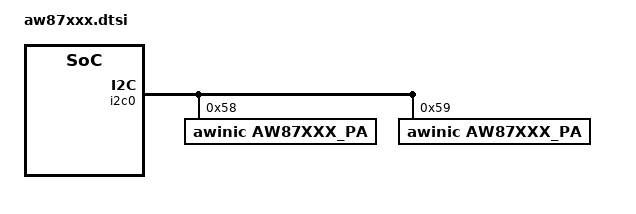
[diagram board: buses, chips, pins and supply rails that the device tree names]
/*stereo dtsi config*/
&i2c0 {
/* AWINIC AW87XXX Smart K PA */
	aw87xxx_pa@58 {
		compatible = "awinic,aw87xxx_pa";
		reg = <0x58>;
		dev_index = < 0 >;
		status = "okay";
	};

	aw87xxx_pa@59 {
		compatible = "awinic,aw87xxx_pa";
		reg = <0x59>;
		dev_index = < 1 >;
		status = "okay";
	};
/* AWINIC AW87XXX Smart K PA End */
};
